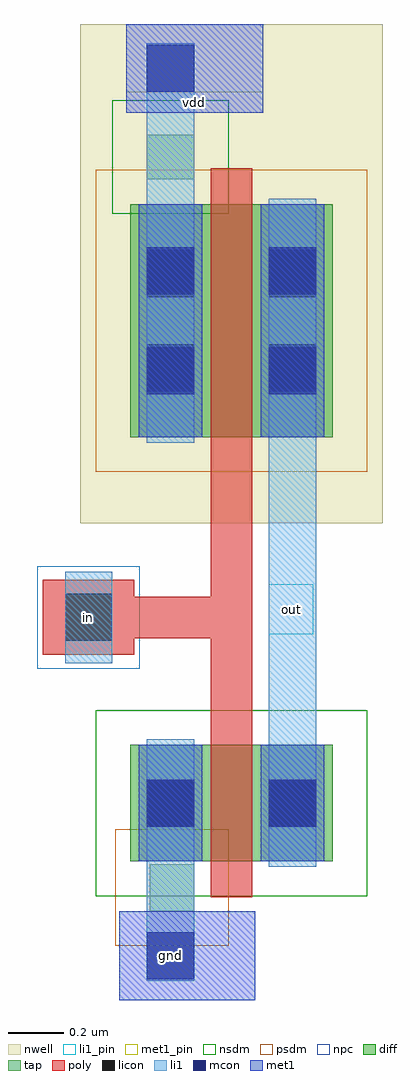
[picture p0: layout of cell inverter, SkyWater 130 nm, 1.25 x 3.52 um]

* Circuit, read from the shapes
.subckt inverter gnd in out vdd
XM1 out in gnd VSUBS sky130_fd_pr__nfet_01v8 w=0.42 l=0.15
XM2 out in vdd n1 sky130_fd_pr__pfet_01v8 w=0.84 l=0.15
.ends

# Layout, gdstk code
import gdstk
lib = gdstk.Library(unit=1e-6, precision=1e-09)
def R(c, l, rs):  # rectangles x0, y0, x1, y1
    for r in rs: c.add(gdstk.rectangle(r[:2], r[2:], *l))
nwell = (64, 20)
diff = (65, 20)
tap = (65, 44)
poly = (66, 20)
licon = (66, 44)
li1_pin = (67, 16)
li1 = (67, 20)
mcon = (67, 44)
met1_pin = (68, 16)
met1 = (68, 20)
nsdm = (93, 44)
psdm = (94, 20)
npc = (95, 20)

sky130_fd_pr__pfet_01v8_ = lib.new_cell('sky130_fd_pr__pfet_01v8_54DS5B')
R(sky130_fd_pr__pfet_01v8_, nwell, [(-0.545,-0.73,0.545,0.73)])
R(sky130_fd_pr__pfet_01v8_, diff, [(-0.365,-0.42,0.365,0.42)])
R(sky130_fd_pr__pfet_01v8_, poly, [(-0.075,-0.55,0.075,0.55)])
R(sky130_fd_pr__pfet_01v8_, licon, [(-0.305,-0.255,-0.135,-0.085), (0.135,-0.255,0.305,-0.085), (-0.305,0.085,-0.135,0.255), (0.135,0.085,0.305,0.255)])
R(sky130_fd_pr__pfet_01v8_, li1, [(-0.305,-0.44,-0.135,0.44), (0.135,-0.44,0.305,0.44)])
R(sky130_fd_pr__pfet_01v8_, mcon, [(-0.305,-0.265,-0.135,-0.095), (0.135,-0.265,0.305,-0.095), (-0.305,0.095,-0.135,0.265), (0.135,0.095,0.305,0.265)])
R(sky130_fd_pr__pfet_01v8_, met1, [(-0.335,-0.42,-0.105,0.42), (0.105,-0.42,0.335,0.42)])
R(sky130_fd_pr__pfet_01v8_, psdm, [(-0.49,-0.545,0.49,0.545)])

sky130_fd_pr__nfet_01v8_ = lib.new_cell('sky130_fd_pr__nfet_01v8_E5NSUL')
R(sky130_fd_pr__nfet_01v8_, diff, [(-0.365,-0.21,0.365,0.21)])
R(sky130_fd_pr__nfet_01v8_, poly, [(-0.075,-0.34,0.075,0.34)])
R(sky130_fd_pr__nfet_01v8_, licon, [(-0.305,-0.085,-0.135,0.085), (0.135,-0.085,0.305,0.085)])
R(sky130_fd_pr__nfet_01v8_, li1, [(-0.305,-0.23,-0.135,0.23), (0.135,-0.23,0.305,0.23)])
R(sky130_fd_pr__nfet_01v8_, mcon, [(-0.305,-0.085,-0.135,0.085), (0.135,-0.085,0.305,0.085)])
R(sky130_fd_pr__nfet_01v8_, met1, [(-0.335,-0.21,-0.105,0.21), (0.105,-0.21,0.335,0.21)])
R(sky130_fd_pr__nfet_01v8_, nsdm, [(-0.49,-0.335,0.49,0.335)])

inverter = lib.new_cell('inverter')
R(inverter, nwell, [(-0.17,2.51,0.92,2.85)])
R(inverter, tap, [(0.08,-0.35,0.24,-0.18), (0.07,2.29,0.24,2.45)])
R(inverter, poly, [(0.3,0.37,0.45,0.635), (-0.305,0.575,0.025,0.635), (-0.305,0.635,0.45,0.785), (-0.305,0.785,0.025,0.845), (0.3,0.785,0.45,1.23)])
R(inverter, licon, [(-0.225,0.625,-0.055,0.795)])
R(inverter, li1_pin, [(-0.225,0.625,-0.055,0.795), (0.51,0.65,0.67,0.83)])
R(inverter, li1, [(0.07,-0.6,0.24,-0.19), (0.08,-0.19,0.24,-0.18), (0.51,0.19,0.68,1.42), (-0.225,0.545,-0.055,0.875), (0.07,2.22,0.24,2.78)])
R(inverter, mcon, [(0.07,-0.595,0.24,-0.425), (0.07,2.605,0.24,2.775)])
R(inverter, met1_pin, [(0.07,-0.595,0.24,-0.425), (-0.005,2.53,0.49,2.605)])
R(inverter, met1, [(-0.03,-0.67,0.46,-0.35), (-0.005,2.53,0.49,2.85)])
R(inverter, nsdm, [(-0.055,2.165,0.365,2.575)])
R(inverter, psdm, [(-0.045,-0.475,0.365,-0.055)])
R(inverter, npc, [(-0.325,0.525,0.045,0.895)])
inverter.add(gdstk.Reference(sky130_fd_pr__pfet_01v8_, (0.375,1.78)))
inverter.add(gdstk.Reference(sky130_fd_pr__nfet_01v8_, (0.375,0.04)))
inverter.add(gdstk.Label('vdd', (0.242,2.567), layer=68, texttype=5))
inverter.add(gdstk.Label('gnd', (0.155,-0.51), layer=68, texttype=5))
inverter.add(gdstk.Label('out', (0.59,0.74), layer=67, texttype=5))
inverter.add(gdstk.Label('in', (-0.14,0.71), layer=67, texttype=5))

lib.write_gds('inverter.gds')
